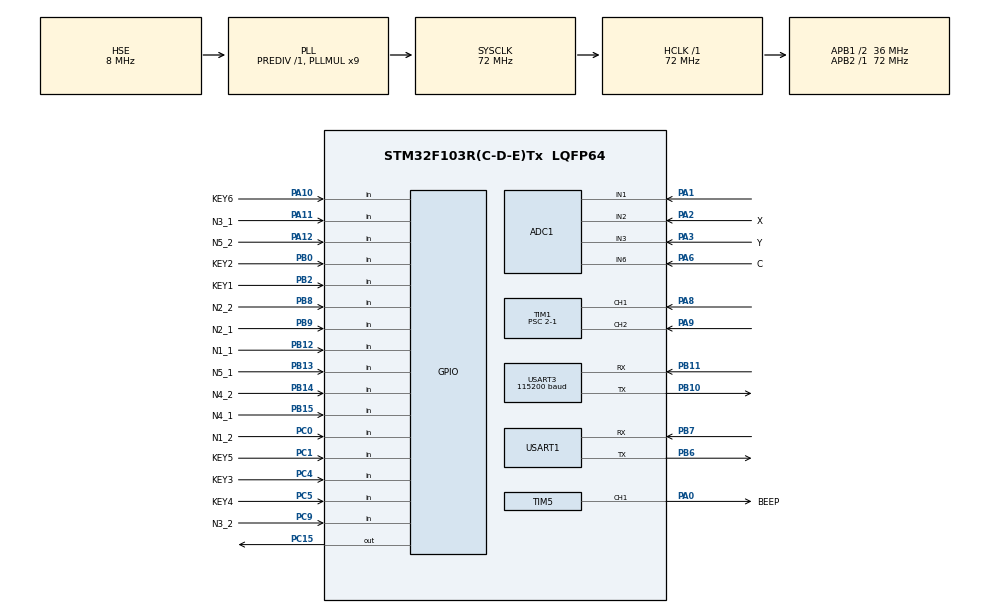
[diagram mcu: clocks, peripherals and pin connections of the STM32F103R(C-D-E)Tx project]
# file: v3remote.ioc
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ADC1.Channel-4\#ChannelRegularConversion=ADC_CHANNEL_2
ADC1.Channel-5\#ChannelRegularConversion=ADC_CHANNEL_3
ADC1.Channel-6\#ChannelRegularConversion=ADC_CHANNEL_6
ADC1.Channel-7\#ChannelRegularConversion=ADC_CHANNEL_1
ADC1.NbrOfConversion=4
ADC1.NbrOfConversionFlag=1
ADC1.Rank-4\#ChannelRegularConversion=1
ADC1.Rank-5\#ChannelRegularConversion=2
ADC1.Rank-6\#ChannelRegularConversion=3
ADC1.Rank-7\#ChannelRegularConversion=4
ADC1.SamplingTime-4\#ChannelRegularConversion=ADC_SAMPLETIME_71CYCLES_5
ADC1.SamplingTime-5\#ChannelRegularConversion=ADC_SAMPLETIME_71CYCLES_5
ADC1.SamplingTime-6\#ChannelRegularConversion=ADC_SAMPLETIME_71CYCLES_5
ADC1.SamplingTime-7\#ChannelRegularConversion=ADC_SAMPLETIME_71CYCLES_5
ADC1.master=1
Dma.ADC1.2.Direction=DMA_PERIPH_TO_MEMORY
Dma.ADC1.2.Instance=DMA1_Channel1
Dma.ADC1.2.MemDataAlignment=DMA_MDATAALIGN_WORD
Dma.ADC1.2.MemInc=DMA_MINC_ENABLE
Dma.ADC1.2.Mode=DMA_NORMAL
Dma.ADC1.2.PeriphDataAlignment=DMA_PDATAALIGN_WORD
Dma.ADC1.2.PeriphInc=DMA_PINC_DISABLE
Dma.ADC1.2.Priority=DMA_PRIORITY_LOW
Dma.Request0=USART3_RX
Dma.Request1=USART3_TX
Dma.Request2=ADC1
Dma.Request3=USART1_RX
Dma.Request4=USART1_TX
Dma.USART1_RX.3.Direction=DMA_PERIPH_TO_MEMORY
Dma.USART1_RX.3.Instance=DMA1_Channel5
Dma.USART1_RX.3.MemDataAlignment=DMA_MDATAALIGN_BYTE
Dma.USART1_RX.3.MemInc=DMA_MINC_ENABLE
Dma.USART1_RX.3.Mode=DMA_NORMAL
Dma.USART1_RX.3.PeriphDataAlignment=DMA_PDATAALIGN_BYTE
Dma.USART1_RX.3.PeriphInc=DMA_PINC_DISABLE
Dma.USART1_RX.3.Priority=DMA_PRIORITY_LOW
Dma.USART1_TX.4.Direction=DMA_MEMORY_TO_PERIPH
Dma.USART1_TX.4.Instance=DMA1_Channel4
Dma.USART1_TX.4.MemDataAlignment=DMA_MDATAALIGN_BYTE
Dma.USART1_TX.4.MemInc=DMA_MINC_ENABLE
Dma.USART1_TX.4.Mode=DMA_NORMAL
Dma.USART1_TX.4.PeriphDataAlignment=DMA_PDATAALIGN_BYTE
Dma.USART1_TX.4.PeriphInc=DMA_PINC_DISABLE
Dma.USART1_TX.4.Priority=DMA_PRIORITY_LOW
Dma.USART3_RX.0.Direction=DMA_PERIPH_TO_MEMORY
Dma.USART3_RX.0.Instance=DMA1_Channel3
Dma.USART3_RX.0.MemDataAlignment=DMA_MDATAALIGN_BYTE
Dma.USART3_RX.0.MemInc=DMA_MINC_ENABLE
Dma.USART3_RX.0.Mode=DMA_NORMAL
Dma.USART3_RX.0.PeriphDataAlignment=DMA_PDATAALIGN_BYTE
Dma.USART3_RX.0.PeriphInc=DMA_PINC_DISABLE
Dma.USART3_RX.0.Priority=DMA_PRIORITY_LOW
Dma.USART3_TX.1.Direction=DMA_MEMORY_TO_PERIPH
Dma.USART3_TX.1.Instance=DMA1_Channel2
Dma.USART3_TX.1.MemDataAlignment=DMA_MDATAALIGN_BYTE
Dma.USART3_TX.1.MemInc=DMA_MINC_ENABLE
Dma.USART3_TX.1.Mode=DMA_NORMAL
Dma.USART3_TX.1.PeriphDataAlignment=DMA_PDATAALIGN_BYTE
Dma.USART3_TX.1.PeriphInc=DMA_PINC_DISABLE
Dma.USART3_TX.1.Priority=DMA_PRIORITY_LOW
Mcu.Family=STM32F1
Mcu.Name=STM32F103R(C-D-E)Tx
Mcu.Package=LQFP64
NVIC.DMA1_Channel1_IRQn=true\:0\:0\:false\:false\:true\:false\:true\:true
NVIC.DMA1_Channel2_IRQn=true\:0\:0\:false\:false\:true\:false\:true\:true
NVIC.DMA1_Channel3_IRQn=true\:0\:0\:false\:false\:true\:false\:true\:true
NVIC.DMA1_Channel4_IRQn=true\:0\:0\:false\:false\:true\:false\:true\:true
NVIC.DMA1_Channel5_IRQn=true\:0\:0\:false\:false\:true\:false\:true\:true
NVIC.PriorityGroup=NVIC_PRIORITYGROUP_4
NVIC.TIM2_IRQn=true\:0\:0\:false\:false\:true\:true\:true\:true
NVIC.TIM3_IRQn=true\:0\:0\:false\:false\:true\:true\:true\:true
NVIC.TIM4_IRQn=true\:0\:0\:false\:false\:true\:true\:true\:true
NVIC.TIM7_IRQn=true\:0\:0\:false\:false\:true\:true\:true\:true
NVIC.USART1_IRQn=true\:0\:0\:false\:false\:true\:true\:true\:true
NVIC.USART3_IRQn=true\:1\:0\:true\:false\:true\:true\:true\:true
PA0-WKUP.GPIO_Label=BEEP
PA0-WKUP.Signal=S_TIM5_CH1
PA1.Signal=ADCx_IN1
PA10.GPIO_Label=KEY6
PA10.Signal=GPIO_Input
PA11.GPIO_Label=N3_1
PA11.Signal=GPIO_Input
PA12.GPIO_Label=N5_2
PA12.Signal=GPIO_Input
PA13.Mode=Serial_Wire
PA13.Signal=SYS_JTMS-SWDIO
PA14.Mode=Serial_Wire
PA14.Signal=SYS_JTCK-SWCLK
PA2.GPIO_Label=X
PA2.Signal=ADCx_IN2
PA3.GPIO_Label=Y
PA3.Signal=ADCx_IN3
PA6.GPIO_Label=C
PA6.Signal=ADCx_IN6
PA8.Signal=S_TIM1_CH1
PA9.Signal=S_TIM1_CH2
PB0.GPIO_Label=KEY2
PB0.Signal=GPIO_Input
PB10.Mode=Asynchronous
PB10.Signal=USART3_TX
PB11.Mode=Asynchronous
PB11.Signal=USART3_RX
PB12.GPIO_Label=N1_1
PB12.Signal=GPIO_Input
PB13.GPIO_Label=N5_1
PB13.Signal=GPIO_Input
PB14.GPIO_Label=N4_2
PB14.Signal=GPIO_Input
PB15.GPIO_Label=N4_1
PB15.Signal=GPIO_Input
PB2.GPIO_Label=KEY1
PB2.Signal=GPIO_Input
PB6.Mode=Asynchronous
PB6.Signal=USART1_TX
PB7.Mode=Asynchronous
PB7.Signal=USART1_RX
PB8.GPIO_Label=N2_2
PB8.Signal=GPIO_Input
PB9.GPIO_Label=N2_1
PB9.Signal=GPIO_Input
PC0.GPIO_Label=N1_2
PC0.Signal=GPIO_Input
PC1.GPIO_Label=KEY5
PC1.Signal=GPIO_Input
PC15-OSC32_OUT.GPIO_PuPd=GPIO_NOPULL
PC15-OSC32_OUT.Signal=GPIO_Output
PC4.GPIO_Label=KEY3
PC4.Signal=GPIO_Input
PC5.GPIO_Label=KEY4
PC5.Signal=GPIO_Input
PC9.GPIO_Label=N3_2
PC9.Signal=GPIO_Input
PD0-OSC_IN.Mode=HSE-External-Oscillator
PD0-OSC_IN.Signal=RCC_OSC_IN
PD1-OSC_OUT.Mode=HSE-External-Oscillator
PD1-OSC_OUT.Signal=RCC_OSC_OUT
ProjectManager.HeapSize=0x200
ProjectManager.StackSize=0x400
ProjectManager.TargetToolchain=MDK-ARM V5.27
RCC.ADCPresc=RCC_ADCPCLK2_DIV6
RCC.AHBFreq_Value=72000000
RCC.APB1CLKDivider=RCC_HCLK_DIV2
RCC.APB1Freq_Value=36000000
RCC.APB1TimFreq_Value=72000000
RCC.APB2Freq_Value=72000000
RCC.APB2TimFreq_Value=72000000
RCC.HCLKFreq_Value=72000000
RCC.PLLMUL=RCC_PLL_MUL9
RCC.PLLSourceVirtual=RCC_PLLSOURCE_HSE
RCC.SYSCLKFreq_VALUE=72000000
RCC.SYSCLKSource=RCC_SYSCLKSOURCE_PLLCLK
RCC.USBFreq_Value=72000000
SH.ADCx_IN1.0=ADC1_IN1,IN1
SH.ADCx_IN2.0=ADC1_IN2,IN2
SH.ADCx_IN3.0=ADC1_IN3,IN3
SH.ADCx_IN6.0=ADC1_IN6,IN6
SH.S_TIM1_CH1.0=TIM1_CH1,Encoder_Interface
SH.S_TIM1_CH2.0=TIM1_CH2,Encoder_Interface
SH.S_TIM5_CH1.0=TIM5_CH1,PWM Generation1 CH1
TIM1.IC1Filter=0
TIM1.IC2Filter=0
TIM1.Period=100-1
TIM1.Prescaler=2-1
TIM2.Period=13-1
TIM2.Prescaler=7200-1
TIM3.Period=10000-1
TIM3.Prescaler=71
TIM4.Period=50000-1
TIM4.Prescaler=10000-1
TIM5.Channel-PWM\ Generation1\ CH1=TIM_CHANNEL_1
TIM5.Period=500
TIM5.Prescaler=72-1
TIM5.Pulse-PWM\ Generation1\ CH1=60
TIM7.Period=10000-1
TIM7.Prescaler=72-1
TIM8.Prescaler=72-1
USART1.VirtualMode=VM_ASYNC
USART3.BaudRate=115200
USART3.VirtualMode=VM_ASYNC
VP_TIM2_VS_ClockSourceINT.Mode=Internal
VP_TIM3_VS_ClockSourceINT.Mode=Internal
VP_TIM4_VS_ClockSourceINT.Mode=Internal
VP_TIM7_VS_ClockSourceINT.Mode=Enable_Timer
VP_TIM8_VS_ClockSourceINT.Mode=Internal
board=custom

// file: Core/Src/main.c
/* USER CODE BEGIN Header */
/**
  ******************************************************************************
  * @file           : main.c
  * @brief          : Main program body
  ******************************************************************************
  * @attention
  *
  * Copyright (c) 2025 STMicroelectronics.
  * All rights reserved.
  *
  * This software is licensed under terms that can be found in the LICENSE file
  * in the root directory of this software component.
  * If no LICENSE file comes with this software, it is provided AS-IS.
  *
  ******************************************************************************
  */
/* USER CODE END Header */
#include "main.h"
#include "adc.h"
#include "dma.h"
#include "tim.h"
#include "usart.h"
#include "gpio.h"

/* USER CODE BEGIN Includes */
#include "CRC.h"
#include "tjc_handle.h"
/* USER CODE END Includes */

/* USER CODE BEGIN PV */
#define message_Length 7
/* USER CODE END PV */

void SystemClock_Config(void);

/* USER CODE BEGIN 0 */
uint32_t time[4]={0};

uint8_t code_zip[10] = {0};
/* USER CODE END 0 */

int main(void)
{

  /* MCU Configuration--------------------------------------------------------*/

  /* Reset of all peripherals, Initializes the Flash interface and the Systick. */
  HAL_Init();

  /* Configure the system clock */
  SystemClock_Config();

  /* Initialize all configured peripherals */
  MX_GPIO_Init();
  MX_DMA_Init();
  MX_ADC1_Init();
  MX_TIM1_Init();
  MX_TIM2_Init();
  MX_TIM3_Init();
  MX_TIM4_Init();
  MX_USART3_UART_Init();
  MX_TIM7_Init();
  MX_USART1_UART_Init();
  MX_TIM8_Init();
  MX_TIM5_Init();
  /* USER CODE BEGIN 2 */
  HAL_Delay(150);
	HAL_TIM_PWM_Start(&htim5, TIM_CHANNEL_1);
	HAL_GPIO_WritePin (GPIOC , GPIO_PIN_15 ,GPIO_PIN_RESET );
	HAL_Delay(200);
  HAL_TIM_PWM_Stop(&htim5, TIM_CHANNEL_1);
	HAL_TIM_Encoder_Start(&htim1,TIM_CHANNEL_ALL);
	HAL_ADCEx_Calibration_Start(&hadc1);
	HAL_UARTEx_ReceiveToIdle_DMA(&huart3, Rx_data3, 500);//开启串口1IDLE中断+DMA接收
	__HAL_DMA_DISABLE_IT (&hdma_usart3_rx ,DMA_IT_HT );//关闭接收过半中断
	HAL_UARTEx_ReceiveToIdle_DMA(&huart1, Rx_data1, 500);//开启串口2IDLE中断+DMA接收
	__HAL_DMA_DISABLE_IT (&hdma_usart1_rx ,DMA_IT_HT );//关闭接收过半中断
////	OPEN_adjust();//开机校验
////	ADC_adjust();
	test=1;//开机校验
	send_flag=1;
	V_Flag_1=0;
	HAL_TIM_Base_Start_IT (&htim7);//以中断开启定时器7
	HAL_TIM_Base_Start_IT (&htim2);//以中断开启定时器2
	HAL_TIM_Base_Start_IT (&htim4);//以中断开启定时器4
	time[0]=HAL_GetTick();
	time[1]=time[0];time[2]=time[0];time[3]=time[0];

  /* USER CODE END 2 */

  /* Infinite loop */
  /* USER CODE BEGIN WHILE */
/* Infinite loop */
  /* USER CODE BEGIN WHILE */
  while (1)
  {
    // 1. 不断调用解析程序处理串口缓冲区的数据
    TJC_Parse_Process();

    time[0]=HAL_GetTick();
    if(time[0]-time[1]>40) // 40ms 发送周期
    {
      // --- 处理屏幕发送的 start 和 end 指令 ---
      if (TJC_Status.cmd_start) {
          screen_start_cmd = 1;
          TJC_Status.cmd_start = 0;
      }
      if (TJC_Status.cmd_end) {
          screen_start_cmd = 0;
          TJC_Status.cmd_end = 0;
      }

      // 将模式状态映射到 TX_buffer[13]（接收端将其解析为 sw1）
      TX_buffer[13] = screen_start_cmd;

      // --- 原有的物理按键校验和计算 ---
      TX_buffer[34]=0;
      for(i=1;i<=23;i++)
      {
        TX_buffer[34] = TX_buffer[34] + TX_buffer[i];
      }

      uint16_t x_temp, y_temp, c_temp;

      // 2. 默认状态下，解析物理摇杆的数据
      x_temp = (TX_buffer[1])*1000 + (TX_buffer[2])*100 + (TX_buffer[3])*10 + (TX_buffer[4]);
      y_temp = (TX_buffer[5])*1000 + (TX_buffer[6])*100 + (TX_buffer[7])*10 + (TX_buffer[8]);
      c_temp = (TX_buffer[9])*1000 + (TX_buffer[10])*100 + (TX_buffer[11])*10 + (TX_buffer[12]);

      // 3. 【核心修改】如果处于屏幕控制模式，直接用屏幕坐标覆盖需要压缩的变量
      if (screen_start_cmd == 1) {
          x_temp = (uint16_t)TJC_Status.target_x;
          y_temp = (uint16_t)TJC_Status.target_y;

          // 安全限幅保护 (非常重要！)
          // 遥控器的压缩算法分配了 11 bit (最大2047) 来存储坐标。
          // 这里进行限幅，防止异常数据导致位移溢出，破坏其他通道数据。
          if (x_temp > 2000) x_temp = 2000;
          if (x_temp < 1000) x_temp = 1000; // 假设最小值为1000
          if (y_temp > 2000) y_temp = 2000;
          if (y_temp < 1000) y_temp = 1000;
      }

      // 4. 压缩打包逻辑 (直接对最终的 temp 变量进行位移压缩)
      code_zip[0] = 0x61;
      code_zip[1] = x_temp>>3;
      code_zip[2] = (x_temp & 0x07)<<5 | y_temp>>6;
      code_zip[3] = (y_temp & 0x3F)<<2 | c_temp>>9;
      code_zip[4] = (c_temp>>1) & 0xFF;
      code_zip[5] = (c_temp & 0x01)<<7;

      code_zip[5] |= ((TX_buffer[13]) & 0x03)<<5; // 整合了串口屏的启动标志
      code_zip[5] |= ((TX_buffer[14]) & 0x03)<<3;

      if(HAL_GPIO_ReadPin(GPIOA, GPIO_PIN_11) == GPIO_PIN_RESET){
        TX_buffer[15]=1;
      }
      else{
        TX_buffer[15]=0;
      }

      code_zip[5] |= ((TX_buffer[15]) & 0x01)<<1;
      code_zip[5] |= ((TX_buffer[16])>>1) & 0x01;

      code_zip[6] = ((TX_buffer[16]) & 0x01)<<7;
      code_zip[6] |= ((TX_buffer[17]) & 0x03)<<5;

      code_zip[6] |= ((TX_buffer[18]) & 0x01)<<4;
      code_zip[6] |= ((TX_buffer[19]) & 0x01)<<3;
      code_zip[6] |= ((TX_buffer[20]) & 0x01)<<2;
      code_zip[6] |= ((TX_buffer[21]) & 0x01)<<1;
      code_zip[6] |= ((TX_buffer[22]) & 0x01);

      code_zip[7] = ((TX_buffer[23]) & 0x01)<<7;

      uint16_t calculated_crc = CRC_16(code_zip , 8);
      code_zip[8] |= (calculated_crc>>8);
      code_zip[9] |= calculated_crc;

      HAL_UART_Transmit(&huart3, code_zip, sizeof(code_zip), 0xFF);
      memset(code_zip, 0, 10);

      time[1] = time[0];
    }
    /* USER CODE END WHILE */

    /* USER CODE BEGIN 3 */
////		HAL_Delay(1500);
////	HAL_GPIO_WritePin (BEEP_GPIO_Port , BEEP_Pin ,GPIO_PIN_SET );
////	HAL_Delay(500);
////  HAL_GPIO_WritePin (BEEP_GPIO_Port , BEEP_Pin ,GPIO_PIN_RESET );
  }
  /* USER CODE END 3 */
}

void SystemClock_Config(void)
{
  RCC_OscInitTypeDef RCC_OscInitStruct = {0};
  RCC_ClkInitTypeDef RCC_ClkInitStruct = {0};
  RCC_PeriphCLKInitTypeDef PeriphClkInit = {0};

  /** Initializes the RCC Oscillators according to the specified parameters
  * in the RCC_OscInitTypeDef structure.
  */
  RCC_OscInitStruct.OscillatorType = RCC_OSCILLATORTYPE_HSE;
  RCC_OscInitStruct.HSEState = RCC_HSE_ON;
  RCC_OscInitStruct.HSEPredivValue = RCC_HSE_PREDIV_DIV1;
  RCC_OscInitStruct.HSIState = RCC_HSI_ON;
  RCC_OscInitStruct.PLL.PLLState = RCC_PLL_ON;
  RCC_OscInitStruct.PLL.PLLSource = RCC_PLLSOURCE_HSE;
  RCC_OscInitStruct.PLL.PLLMUL = RCC_PLL_MUL9;
  if (HAL_RCC_OscConfig(&RCC_OscInitStruct) != HAL_OK)
  {
    Error_Handler();
  }

  /** Initializes the CPU, AHB and APB buses clocks
  */
  RCC_ClkInitStruct.ClockType = RCC_CLOCKTYPE_HCLK|RCC_CLOCKTYPE_SYSCLK
                              |RCC_CLOCKTYPE_PCLK1|RCC_CLOCKTYPE_PCLK2;
  RCC_ClkInitStruct.SYSCLKSource = RCC_SYSCLKSOURCE_PLLCLK;
  RCC_ClkInitStruct.AHBCLKDivider = RCC_SYSCLK_DIV1;
  RCC_ClkInitStruct.APB1CLKDivider = RCC_HCLK_DIV2;
  RCC_ClkInitStruct.APB2CLKDivider = RCC_HCLK_DIV1;

  if (HAL_RCC_ClockConfig(&RCC_ClkInitStruct, FLASH_LATENCY_2) != HAL_OK)
  {
    Error_Handler();
  }
  PeriphClkInit.PeriphClockSelection = RCC_PERIPHCLK_ADC;
  PeriphClkInit.AdcClockSelection = RCC_ADCPCLK2_DIV6;
  if (HAL_RCCEx_PeriphCLKConfig(&PeriphClkInit) != HAL_OK)
  {
    Error_Handler();
  }
}

void Error_Handler(void)
{
  __disable_irq();
  while (1)
  {
  }
}
